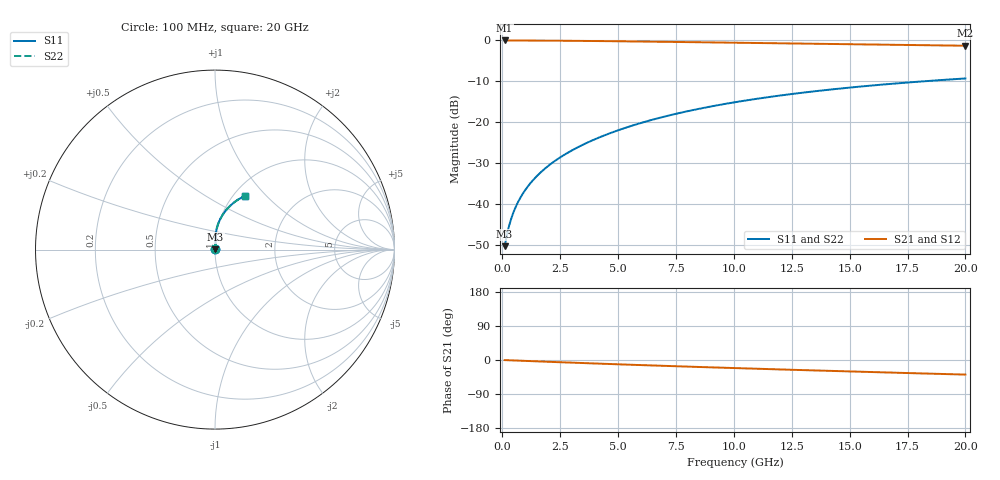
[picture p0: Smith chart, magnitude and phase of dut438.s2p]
! Touchstone file exported from HFSS 2024.1.0
!  File:  C:/UserFiles/LocalFiles/RDL_TSV_Batchsim/temp_RDL_bottom_438_1779684576.aedt
!  Generated:  12:52:02 PM May 25, 2026
!  Design:  RDL_bottom
!  Project:  temp_RDL_bottom_438_1779684576
!  Setup:  Setup1
!  Solution:  Sweep
! Variables:
!  dtsv = 10.80580581um
!  hbump = 3um
!  htsv = 79.67um
!  ldown = 521.17um
!  lrdl = 100um
!  p = 40
!  p1 = 59.08um
!  rhole = 1um
!  t = 450um
!  tdown = 2.86um
!  trdl = 3.915915916um
!  wdown = 28.22um
!  wrdl = 20um
# GHz S MA R 50.000000
! Terminal data exported
! Port[1] = RDL1_T1
! Port[2] = RDL1_T2
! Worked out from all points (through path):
!   200 points, 100 MHz to 20 GHz, reference 50 ohm
!   highest |S21| = -0.02 dB at 100 MHz (marker M1); lowest = -1.3 dB at 20 GHz (marker M2)
!   group delay of S21, straight-line fit = 5.28 ps
!   lowest |S11| = -50.3 dB at 100 MHz (marker M3), VSWR 1.01, Z = 50.3 + j0.165 ohm
!   |S11| at or under -10 dB: start of sweep to 18.2 GHz
!   |S22| runs from -50.3 to -9.3 dB; largest |S21 - S12| = 5.1e-15
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0.1  0.003063 32.5  0.9974 -0.3  0.9974 -0.3  0.003063 32.5
! Gamma 0 0 0 0
! Port Impedance 50 0 50 0
0.2  0.00421 50.0  0.9972 -0.5  0.9972 -0.5  0.00421 50.0
0.3  0.005517 59.0  0.997 -0.7  0.997 -0.7  0.005517 59.0
0.4  0.006848 64.4  0.9968 -1.0  0.9968 -1.0  0.006848 64.4
0.5  0.008181 68.2  0.9966 -1.2  0.9966 -1.2  0.008181 68.2
0.6  0.009521 71.1  0.9964 -1.5  0.9964 -1.5  0.009521 71.1
0.8  0.01223 75.2  0.996 -1.9  0.996 -1.9  0.01223 75.2
1.1  0.01639 79.2  0.9954 -2.6  0.9954 -2.6  0.01639 79.2
1.3  0.01923 81.1  0.9948 -3.1  0.9948 -3.1  0.01923 81.1
1.6  0.02357 83.1  0.9939 -3.8  0.9939 -3.8  0.02357 83.1
2.1  0.03104 85.3  0.9921 -5.0  0.9921 -5.0  0.03104 85.3
2.7  0.04037 86.9  0.9894 -6.3  0.9894 -6.3  0.04037 86.9
3.5  0.05344 87.9  0.985 -8.1  0.985 -8.1  0.05344 87.9
4.2  0.06544 88.1  0.9806 -9.7  0.9806 -9.7  0.06544 88.1
5  0.07971 87.8  0.9752 -11.4  0.9752 -11.4  0.07971 87.8
6.8  0.1134 85.8  0.9618 -15.1  0.9618 -15.1  0.1134 85.8
8.4  0.1441 83.1  0.9494 -18.2  0.9494 -18.2  0.1441 83.1
10.1  0.1766 79.8  0.9361 -21.5  0.9361 -21.5  0.1766 79.8
11.7  0.2066 76.7  0.9236 -24.4  0.9236 -24.4  0.2066 76.7
13.4  0.2373 73.3  0.9104 -27.4  0.9104 -27.4  0.2373 73.3
16.7  0.2929 66.9  0.885 -33.1  0.885 -33.1  0.2929 66.9
20  0.3427 60.9  0.8597 -38.5  0.8597 -38.5  0.3427 60.9
